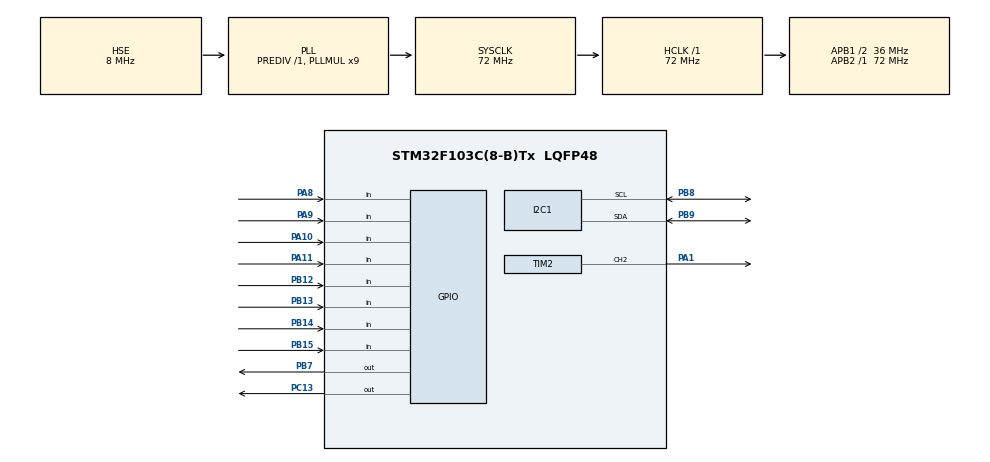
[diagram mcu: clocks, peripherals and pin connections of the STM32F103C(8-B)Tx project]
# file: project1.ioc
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I2C1.I2C_Mode=I2C_Standard
Mcu.Family=STM32F1
Mcu.Name=STM32F103C(8-B)Tx
Mcu.Package=LQFP48
NVIC.PriorityGroup=NVIC_PRIORITYGROUP_4
PA1.Signal=S_TIM2_CH2
PA10.GPIO_Mode=GPIO_MODE_INPUT
PA10.GPIO_PuPd=GPIO_PULLUP
PA10.Signal=GPIO_Input
PA11.GPIO_Mode=GPIO_MODE_INPUT
PA11.GPIO_PuPd=GPIO_PULLUP
PA11.Signal=GPIO_Input
PA13.Mode=Serial_Wire
PA13.Signal=SYS_JTMS-SWDIO
PA14.Mode=Serial_Wire
PA14.Signal=SYS_JTCK-SWCLK
PA8.GPIO_Mode=GPIO_MODE_INPUT
PA8.GPIO_PuPd=GPIO_PULLUP
PA8.Signal=GPIO_Input
PA9.GPIO_Mode=GPIO_MODE_INPUT
PA9.GPIO_PuPd=GPIO_PULLUP
PA9.Signal=GPIO_Input
PB12.GPIO_Mode=GPIO_MODE_INPUT
PB12.GPIO_PuPd=GPIO_PULLUP
PB12.Signal=GPIO_Input
PB13.GPIO_Mode=GPIO_MODE_INPUT
PB13.GPIO_PuPd=GPIO_PULLUP
PB13.Signal=GPIO_Input
PB14.GPIO_Mode=GPIO_MODE_INPUT
PB14.GPIO_PuPd=GPIO_PULLUP
PB14.Signal=GPIO_Input
PB15.GPIO_Mode=GPIO_MODE_INPUT
PB15.GPIO_PuPd=GPIO_PULLUP
PB15.Signal=GPIO_Input
PB7.GPIO_PuPd=GPIO_PULLUP
PB7.Signal=GPIO_Output
PB8.Mode=I2C
PB8.Signal=I2C1_SCL
PB9.Mode=I2C
PB9.Signal=I2C1_SDA
PC13-TAMPER-RTC.GPIO_PuPd=GPIO_PULLUP
PC13-TAMPER-RTC.Signal=GPIO_Output
PD0-OSC_IN.Mode=HSE-External-Oscillator
PD0-OSC_IN.Signal=RCC_OSC_IN
PD1-OSC_OUT.Mode=HSE-External-Oscillator
PD1-OSC_OUT.Signal=RCC_OSC_OUT
ProjectManager.HeapSize=0x200
ProjectManager.StackSize=0x400
ProjectManager.TargetToolchain=STM32CubeIDE
RCC.AHBFreq_Value=72000000
RCC.APB1CLKDivider=RCC_HCLK_DIV2
RCC.APB1Freq_Value=36000000
RCC.APB1TimFreq_Value=72000000
RCC.APB2Freq_Value=72000000
RCC.APB2TimFreq_Value=72000000
RCC.HCLKFreq_Value=72000000
RCC.PLLMUL=RCC_PLL_MUL9
RCC.PLLSourceVirtual=RCC_PLLSOURCE_HSE
RCC.SYSCLKFreq_VALUE=72000000
RCC.SYSCLKSource=RCC_SYSCLKSOURCE_PLLCLK
RCC.USBFreq_Value=72000000
SH.S_TIM2_CH2.0=TIM2_CH2,PWM Generation2 CH2
TIM2.AutoReloadPreload=TIM_AUTORELOAD_PRELOAD_DISABLE
TIM2.Channel-PWM\ Generation2\ CH2=TIM_CHANNEL_2
TIM2.Period=2000 - 1
TIM2.Prescaler=720-1
TIM2.Pulse-PWM\ Generation2\ CH2=0
TIM3.Period=2000 - 1
TIM3.Prescaler=7200 - 1
VP_TIM2_VS_ClockSourceINT.Mode=Internal
VP_TIM3_VS_ClockSourceINT.Mode=Internal
board=custom

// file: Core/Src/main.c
/* USER CODE BEGIN Header */
/**
  ******************************************************************************
  * @file           : main.c
  * @brief          : Main program body
  ******************************************************************************
  * @attention
  *
  * Copyright (c) 2024 STMicroelectronics.
  * All rights reserved.
  *
  * This software is licensed under terms that can be found in the LICENSE file
  * in the root directory of this software component.
  * If no LICENSE file comes with this software, it is provided AS-IS.
  *
  ******************************************************************************
  */
/* USER CODE END Header */
#include "main.h"
#include "i2c.h"
#include "tim.h"
#include "gpio.h"

/* USER CODE BEGIN Includes */
#include "OLED.h"
/* USER CODE END Includes */

void SystemClock_Config(void);

/* USER CODE BEGIN 0 */
int keynum=0;
int password = 0;
int keyflag = 0;

void HAL_TIM_PeriodElapsedCallback(TIM_HandleTypeDef *htim)
{
    // 仅当 TIM2 触发时才执行
    if (htim->Instance == TIM3)
    {
        // 定时器周期到期时的操�????????
        // 例如：切�???????? LED 状�?�，或�?�计�????????
        HAL_GPIO_TogglePin(GPIOC, GPIO_PIN_13);  // 假设 GPIOA_PIN_5 控制 LED
    }
}

/* USER CODE END 0 */

int main(void)
{

  /* MCU Configuration--------------------------------------------------------*/

  /* Reset of all peripherals, Initializes the Flash interface and the Systick. */
  HAL_Init();

  /* Configure the system clock */
  SystemClock_Config();

  /* Initialize all configured peripherals */
  MX_GPIO_Init();
  MX_I2C1_Init();
  MX_TIM2_Init();
  MX_TIM3_Init();
  /* USER CODE BEGIN 2 */
    OLED_Init();
    OLED_Clear();

    HAL_TIM_PWM_Start(&htim2,TIM_CHANNEL_2);

    HAL_TIM_Base_Start_IT(&htim3);

    HAL_GPIO_WritePin(GPIOB,GPIO_PIN_12,GPIO_PIN_RESET);
    HAL_GPIO_WritePin(GPIOB,GPIO_PIN_13,GPIO_PIN_RESET);
    HAL_GPIO_WritePin(GPIOB,GPIO_PIN_14,GPIO_PIN_RESET);
    HAL_GPIO_WritePin(GPIOB,GPIO_PIN_15,GPIO_PIN_RESET);
    HAL_GPIO_WritePin(GPIOA,GPIO_PIN_8,GPIO_PIN_SET);
    HAL_GPIO_WritePin(GPIOA,GPIO_PIN_9,GPIO_PIN_SET);
    HAL_GPIO_WritePin(GPIOA,GPIO_PIN_10,GPIO_PIN_SET);
    HAL_GPIO_WritePin(GPIOA,GPIO_PIN_11,GPIO_PIN_SET);

    HAL_GPIO_WritePin(GPIOB,GPIO_PIN_7,GPIO_PIN_SET);

    OLED_ShowString(0,0,"password:",16,0);
    OLED_ShowString(0,2,"work:",16,0);
    OLED_ShowString(0,4,"output:",16,0);
  /* USER CODE END 2 */

  /* Infinite loop */
  while (1)
  {

    /* USER CODE BEGIN 3 */

        if(HAL_GPIO_ReadPin(GPIOB,GPIO_PIN_12)==GPIO_PIN_SET)
        {
            HAL_GPIO_WritePin(GPIOB,GPIO_PIN_12,GPIO_PIN_SET);
            HAL_GPIO_WritePin(GPIOB,GPIO_PIN_13,GPIO_PIN_SET);
            HAL_GPIO_WritePin(GPIOB,GPIO_PIN_14,GPIO_PIN_SET);
            HAL_GPIO_WritePin(GPIOB,GPIO_PIN_15,GPIO_PIN_SET);
            HAL_GPIO_WritePin(GPIOA,GPIO_PIN_8,GPIO_PIN_RESET);
            HAL_GPIO_WritePin(GPIOA,GPIO_PIN_9,GPIO_PIN_RESET);
            HAL_GPIO_WritePin(GPIOA,GPIO_PIN_10,GPIO_PIN_RESET);
            HAL_GPIO_WritePin(GPIOA,GPIO_PIN_11,GPIO_PIN_RESET);

            if(HAL_GPIO_ReadPin(GPIOA,GPIO_PIN_8)==GPIO_PIN_SET)
            {
                HAL_Delay(50);
                while(HAL_GPIO_ReadPin(GPIOA,GPIO_PIN_8)==GPIO_PIN_SET);
                keyflag = 8;
            }
            if(HAL_GPIO_ReadPin(GPIOA,GPIO_PIN_9)==GPIO_PIN_SET)
            {
                HAL_Delay(50);
                while(HAL_GPIO_ReadPin(GPIOA,GPIO_PIN_9)==GPIO_PIN_SET);
                keynum = 66;
            }
            if(HAL_GPIO_ReadPin(GPIOA,GPIO_PIN_10)==GPIO_PIN_SET)
            {
                HAL_Delay(50);
                while(HAL_GPIO_ReadPin(GPIOA,GPIO_PIN_10)==GPIO_PIN_SET);
                keyflag = 9;
            }
            if(HAL_GPIO_ReadPin(GPIOA,GPIO_PIN_11)==GPIO_PIN_SET)
            {
                HAL_Delay(50);
                while(HAL_GPIO_ReadPin(GPIOA,GPIO_PIN_11)==GPIO_PIN_SET);
                keyflag = 4;
            }

            HAL_GPIO_WritePin(GPIOB,GPIO_PIN_12,GPIO_PIN_RESET);
            HAL_GPIO_WritePin(GPIOB,GPIO_PIN_13,GPIO_PIN_RESET);
            HAL_GPIO_WritePin(GPIOB,GPIO_PIN_14,GPIO_PIN_RESET);
            HAL_GPIO_WritePin(GPIOB,GPIO_PIN_15,GPIO_PIN_RESET);
            HAL_GPIO_WritePin(GPIOA,GPIO_PIN_8,GPIO_PIN_SET);
            HAL_GPIO_WritePin(GPIOA,GPIO_PIN_9,GPIO_PIN_SET);
            HAL_GPIO_WritePin(GPIOA,GPIO_PIN_10,GPIO_PIN_SET);
            HAL_GPIO_WritePin(GPIOA,GPIO_PIN_11,GPIO_PIN_SET);

        }

        if(HAL_GPIO_ReadPin(GPIOB,GPIO_PIN_13)==GPIO_PIN_SET)
        {
            HAL_GPIO_WritePin(GPIOB,GPIO_PIN_12,GPIO_PIN_SET);
            HAL_GPIO_WritePin(GPIOB,GPIO_PIN_13,GPIO_PIN_SET);
            HAL_GPIO_WritePin(GPIOB,GPIO_PIN_14,GPIO_PIN_SET);
            HAL_GPIO_WritePin(GPIOB,GPIO_PIN_15,GPIO_PIN_SET);
            HAL_GPIO_WritePin(GPIOA,GPIO_PIN_8,GPIO_PIN_RESET);
            HAL_GPIO_WritePin(GPIOA,GPIO_PIN_9,GPIO_PIN_RESET);
            HAL_GPIO_WritePin(GPIOA,GPIO_PIN_10,GPIO_PIN_RESET);
            HAL_GPIO_WritePin(GPIOA,GPIO_PIN_11,GPIO_PIN_RESET);

            if(HAL_GPIO_ReadPin(GPIOA,GPIO_PIN_8)==GPIO_PIN_SET)
            {
                HAL_Delay(50);
                while(HAL_GPIO_ReadPin(GPIOA,GPIO_PIN_8)==GPIO_PIN_SET);
                keynum = 7;
            }
            if(HAL_GPIO_ReadPin(GPIOA,GPIO_PIN_9)==GPIO_PIN_SET)
            {
                HAL_Delay(50);
                while(HAL_GPIO_ReadPin(GPIOA,GPIO_PIN_9)==GPIO_PIN_SET);
                keynum = 8;
            }
            if(HAL_GPIO_ReadPin(GPIOA,GPIO_PIN_10)==GPIO_PIN_SET)
            {
                HAL_Delay(50);
                while(HAL_GPIO_ReadPin(GPIOA,GPIO_PIN_10)==GPIO_PIN_SET);
                keynum = 9;
            }
            if(HAL_GPIO_ReadPin(GPIOA,GPIO_PIN_11)==GPIO_PIN_SET)
            {
                HAL_Delay(50);
                while(HAL_GPIO_ReadPin(GPIOA,GPIO_PIN_11)==GPIO_PIN_SET);
                keyflag = 3;
            }

            HAL_GPIO_WritePin(GPIOB,GPIO_PIN_12,GPIO_PIN_RESET);
            HAL_GPIO_WritePin(GPIOB,GPIO_PIN_13,GPIO_PIN_RESET);
            HAL_GPIO_WritePin(GPIOB,GPIO_PIN_14,GPIO_PIN_RESET);
            HAL_GPIO_WritePin(GPIOB,GPIO_PIN_15,GPIO_PIN_RESET);
            HAL_GPIO_WritePin(GPIOA,GPIO_PIN_8,GPIO_PIN_SET);
            HAL_GPIO_WritePin(GPIOA,GPIO_PIN_9,GPIO_PIN_SET);
            HAL_GPIO_WritePin(GPIOA,GPIO_PIN_10,GPIO_PIN_SET);
            HAL_GPIO_WritePin(GPIOA,GPIO_PIN_11,GPIO_PIN_SET);
        }
        if(HAL_GPIO_ReadPin(GPIOB,GPIO_PIN_14)==GPIO_PIN_SET)
        {
            HAL_GPIO_WritePin(GPIOB,GPIO_PIN_12,GPIO_PIN_SET);
            HAL_GPIO_WritePin(GPIOB,GPIO_PIN_13,GPIO_PIN_SET);
            HAL_GPIO_WritePin(GPIOB,GPIO_PIN_14,GPIO_PIN_SET);
            HAL_GPIO_WritePin(GPIOB,GPIO_PIN_15,GPIO_PIN_SET);
            HAL_GPIO_WritePin(GPIOA,GPIO_PIN_8,GPIO_PIN_RESET);
            HAL_GPIO_WritePin(GPIOA,GPIO_PIN_9,GPIO_PIN_RESET);
            HAL_GPIO_WritePin(GPIOA,GPIO_PIN_10,GPIO_PIN_RESET);
            HAL_GPIO_WritePin(GPIOA,GPIO_PIN_11,GPIO_PIN_RESET);

            if(HAL_GPIO_ReadPin(GPIOA,GPIO_PIN_8)==GPIO_PIN_SET)
            {
                HAL_Delay(50);
                while(HAL_GPIO_ReadPin(GPIOA,GPIO_PIN_8)==GPIO_PIN_SET);
                keynum = 4;
            }
            if(HAL_GPIO_ReadPin(GPIOA,GPIO_PIN_9)==GPIO_PIN_SET)
            {
                HAL_Delay(50);
                while(HAL_GPIO_ReadPin(GPIOA,GPIO_PIN_9)==GPIO_PIN_SET);
                keynum = 5;
            }
            if(HAL_GPIO_ReadPin(GPIOA,GPIO_PIN_10)==GPIO_PIN_SET)
            {
                HAL_Delay(50);
                while(HAL_GPIO_ReadPin(GPIOA,GPIO_PIN_10)==GPIO_PIN_SET);
                keynum = 6;
            }
            if(HAL_GPIO_ReadPin(GPIOA,GPIO_PIN_11)==GPIO_PIN_SET)
            {
                HAL_Delay(50);
                while(HAL_GPIO_ReadPin(GPIOA,GPIO_PIN_11)==GPIO_PIN_SET);
                keyflag = 2;
            }

            HAL_GPIO_WritePin(GPIOB,GPIO_PIN_12,GPIO_PIN_RESET);
            HAL_GPIO_WritePin(GPIOB,GPIO_PIN_13,GPIO_PIN_RESET);
            HAL_GPIO_WritePin(GPIOB,GPIO_PIN_14,GPIO_PIN_RESET);
            HAL_GPIO_WritePin(GPIOB,GPIO_PIN_15,GPIO_PIN_RESET);
            HAL_GPIO_WritePin(GPIOA,GPIO_PIN_8,GPIO_PIN_SET);
            HAL_GPIO_WritePin(GPIOA,GPIO_PIN_9,GPIO_PIN_SET);
            HAL_GPIO_WritePin(GPIOA,GPIO_PIN_10,GPIO_PIN_SET);
            HAL_GPIO_WritePin(GPIOA,GPIO_PIN_11,GPIO_PIN_SET);
        }
        if(HAL_GPIO_ReadPin(GPIOB,GPIO_PIN_15)==GPIO_PIN_SET)
        {
            HAL_GPIO_WritePin(GPIOB,GPIO_PIN_12,GPIO_PIN_SET);
            HAL_GPIO_WritePin(GPIOB,GPIO_PIN_13,GPIO_PIN_SET);
            HAL_GPIO_WritePin(GPIOB,GPIO_PIN_14,GPIO_PIN_SET);
            HAL_GPIO_WritePin(GPIOB,GPIO_PIN_15,GPIO_PIN_SET);
            HAL_GPIO_WritePin(GPIOA,GPIO_PIN_8,GPIO_PIN_RESET);
            HAL_GPIO_WritePin(GPIOA,GPIO_PIN_9,GPIO_PIN_RESET);
            HAL_GPIO_WritePin(GPIOA,GPIO_PIN_10,GPIO_PIN_RESET);
            HAL_GPIO_WritePin(GPIOA,GPIO_PIN_11,GPIO_PIN_RESET);

            if(HAL_GPIO_ReadPin(GPIOA,GPIO_PIN_8)==GPIO_PIN_SET)
            {
                HAL_Delay(50);
                while(HAL_GPIO_ReadPin(GPIOA,GPIO_PIN_8)==GPIO_PIN_SET);
                keynum = 1;
            }
            if(HAL_GPIO_ReadPin(GPIOA,GPIO_PIN_9)==GPIO_PIN_SET)
            {
                HAL_Delay(50);
                while(HAL_GPIO_ReadPin(GPIOA,GPIO_PIN_9)==GPIO_PIN_SET);
                keynum = 2;
            }
            if(HAL_GPIO_ReadPin(GPIOA,GPIO_PIN_10)==GPIO_PIN_SET)
            {
                HAL_Delay(50);
                while(HAL_GPIO_ReadPin(GPIOA,GPIO_PIN_10)==GPIO_PIN_SET);
                keynum = 3;
            }
            if(HAL_GPIO_ReadPin(GPIOA,GPIO_PIN_11)==GPIO_PIN_SET)
            {
                HAL_Delay(50);
                while(HAL_GPIO_ReadPin(GPIOA,GPIO_PIN_11)==GPIO_PIN_SET);
                keyflag = 1;
            }

            HAL_GPIO_WritePin(GPIOB,GPIO_PIN_12,GPIO_PIN_RESET);
            HAL_GPIO_WritePin(GPIOB,GPIO_PIN_13,GPIO_PIN_RESET);
            HAL_GPIO_WritePin(GPIOB,GPIO_PIN_14,GPIO_PIN_RESET);
            HAL_GPIO_WritePin(GPIOB,GPIO_PIN_15,GPIO_PIN_RESET);
            HAL_GPIO_WritePin(GPIOA,GPIO_PIN_8,GPIO_PIN_SET);
            HAL_GPIO_WritePin(GPIOA,GPIO_PIN_9,GPIO_PIN_SET);
            HAL_GPIO_WritePin(GPIOA,GPIO_PIN_10,GPIO_PIN_SET);
            HAL_GPIO_WritePin(GPIOA,GPIO_PIN_11,GPIO_PIN_SET);
        }

// 操作�??????????
    if(keyflag==8)
    {
        password=password/10;
        keyflag=0;
    }
    if(keyflag==9)
    {
        if(password==2628)
        {
            OLED_ShowString(72,4,"correct",16,0);
            password = 0;
            OLED_ShowNum(80,0,password,5,16,0);

            HAL_GPIO_TogglePin(GPIOB,GPIO_PIN_7);
            HAL_Delay(100);
            HAL_GPIO_TogglePin(GPIOB,GPIO_PIN_7);
            HAL_Delay(100);
            HAL_GPIO_TogglePin(GPIOB,GPIO_PIN_7);
            HAL_Delay(100);
            HAL_GPIO_TogglePin(GPIOB,GPIO_PIN_7);
            HAL_Delay(100);
            HAL_GPIO_TogglePin(GPIOB,GPIO_PIN_7);
            HAL_Delay(100);
            HAL_GPIO_TogglePin(GPIOB,GPIO_PIN_7);

            __HAL_TIM_SET_COMPARE(&htim2,TIM_CHANNEL_2,50);
            HAL_Delay(10000);
            __HAL_TIM_SET_COMPARE(&htim2,TIM_CHANNEL_2,250);
            HAL_Delay(100);

            HAL_GPIO_TogglePin(GPIOB,GPIO_PIN_7);
            HAL_Delay(100);
            HAL_GPIO_TogglePin(GPIOB,GPIO_PIN_7);
            HAL_Delay(100);
            HAL_GPIO_TogglePin(GPIOB,GPIO_PIN_7);
            HAL_Delay(100);
            HAL_GPIO_TogglePin(GPIOB,GPIO_PIN_7);
            HAL_Delay(100);
            HAL_GPIO_TogglePin(GPIOB,GPIO_PIN_7);
            HAL_Delay(100);
            HAL_GPIO_TogglePin(GPIOB,GPIO_PIN_7);

        }
        else
        {
            OLED_ShowString(72,4,"wrong!!",16,0);
            password = 0;
            OLED_ShowNum(80,0,password,5,16,0);

            HAL_GPIO_TogglePin(GPIOB,GPIO_PIN_7);
            HAL_Delay(100);
            HAL_GPIO_TogglePin(GPIOB,GPIO_PIN_7);
            HAL_Delay(100);
            HAL_GPIO_TogglePin(GPIOB,GPIO_PIN_7);
            HAL_Delay(100);
            HAL_GPIO_TogglePin(GPIOB,GPIO_PIN_7);
        }
        keyflag=0;
    }

    //密码�??????????
    if(password<1000)
    {
        if(keynum == 66)
        {
            password=password*10;
            keynum = 0;
        }
        if(keynum!=0)
        {
            password=password*10;
            password+=keynum%10;
            keynum = 0;
        }
    }
      keynum = 0;

      OLED_ShowNum(80,0,password,5,16,0);
      OLED_ShowNum(80,2,keyflag,5,16,0);

  }
  /* USER CODE END 3 */
}

void SystemClock_Config(void)
{
  RCC_OscInitTypeDef RCC_OscInitStruct = {0};
  RCC_ClkInitTypeDef RCC_ClkInitStruct = {0};

  /** Initializes the RCC Oscillators according to the specified parameters
  * in the RCC_OscInitTypeDef structure.
  */
  RCC_OscInitStruct.OscillatorType = RCC_OSCILLATORTYPE_HSE;
  RCC_OscInitStruct.HSEState = RCC_HSE_ON;
  RCC_OscInitStruct.HSEPredivValue = RCC_HSE_PREDIV_DIV1;
  RCC_OscInitStruct.HSIState = RCC_HSI_ON;
  RCC_OscInitStruct.PLL.PLLState = RCC_PLL_ON;
  RCC_OscInitStruct.PLL.PLLSource = RCC_PLLSOURCE_HSE;
  RCC_OscInitStruct.PLL.PLLMUL = RCC_PLL_MUL9;
  if (HAL_RCC_OscConfig(&RCC_OscInitStruct) != HAL_OK)
  {
    Error_Handler();
  }

  /** Initializes the CPU, AHB and APB buses clocks
  */
  RCC_ClkInitStruct.ClockType = RCC_CLOCKTYPE_HCLK|RCC_CLOCKTYPE_SYSCLK
                              |RCC_CLOCKTYPE_PCLK1|RCC_CLOCKTYPE_PCLK2;
  RCC_ClkInitStruct.SYSCLKSource = RCC_SYSCLKSOURCE_PLLCLK;
  RCC_ClkInitStruct.AHBCLKDivider = RCC_SYSCLK_DIV1;
  RCC_ClkInitStruct.APB1CLKDivider = RCC_HCLK_DIV2;
  RCC_ClkInitStruct.APB2CLKDivider = RCC_HCLK_DIV1;

  if (HAL_RCC_ClockConfig(&RCC_ClkInitStruct, FLASH_LATENCY_2) != HAL_OK)
  {
    Error_Handler();
  }
}

void Error_Handler(void)
{
  __disable_irq();
  while (1)
  {
  }
}
